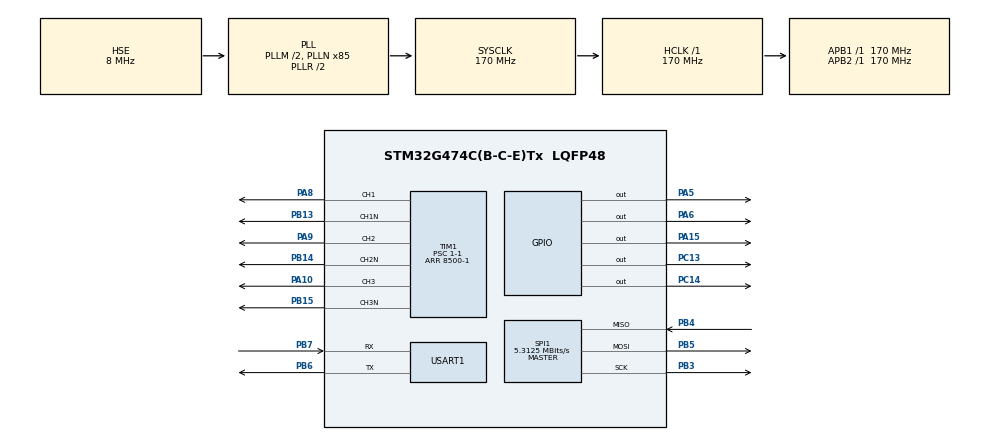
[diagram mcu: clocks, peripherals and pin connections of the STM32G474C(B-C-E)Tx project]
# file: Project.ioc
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Dma.Request0=USART1_RX
Dma.Request1=USART1_TX
Dma.USART1_RX.0.Direction=DMA_PERIPH_TO_MEMORY
Dma.USART1_RX.0.EventEnable=DISABLE
Dma.USART1_RX.0.Instance=DMA1_Channel1
Dma.USART1_RX.0.MemDataAlignment=DMA_MDATAALIGN_BYTE
Dma.USART1_RX.0.MemInc=DMA_MINC_ENABLE
Dma.USART1_RX.0.Mode=DMA_NORMAL
Dma.USART1_RX.0.PeriphDataAlignment=DMA_PDATAALIGN_BYTE
Dma.USART1_RX.0.PeriphInc=DMA_PINC_DISABLE
Dma.USART1_RX.0.Polarity=HAL_DMAMUX_REQ_GEN_RISING
Dma.USART1_RX.0.Priority=DMA_PRIORITY_HIGH
Dma.USART1_RX.0.RequestNumber=1
Dma.USART1_RX.0.SignalID=NONE
Dma.USART1_RX.0.SyncEnable=DISABLE
Dma.USART1_RX.0.SyncPolarity=HAL_DMAMUX_SYNC_NO_EVENT
Dma.USART1_RX.0.SyncRequestNumber=1
Dma.USART1_RX.0.SyncSignalID=NONE
Dma.USART1_TX.1.Direction=DMA_MEMORY_TO_PERIPH
Dma.USART1_TX.1.EventEnable=DISABLE
Dma.USART1_TX.1.Instance=DMA1_Channel2
Dma.USART1_TX.1.MemDataAlignment=DMA_MDATAALIGN_BYTE
Dma.USART1_TX.1.MemInc=DMA_MINC_ENABLE
Dma.USART1_TX.1.Mode=DMA_NORMAL
Dma.USART1_TX.1.PeriphDataAlignment=DMA_PDATAALIGN_BYTE
Dma.USART1_TX.1.PeriphInc=DMA_PINC_DISABLE
Dma.USART1_TX.1.Polarity=HAL_DMAMUX_REQ_GEN_RISING
Dma.USART1_TX.1.Priority=DMA_PRIORITY_LOW
Dma.USART1_TX.1.RequestNumber=1
Dma.USART1_TX.1.SignalID=NONE
Dma.USART1_TX.1.SyncEnable=DISABLE
Dma.USART1_TX.1.SyncPolarity=HAL_DMAMUX_SYNC_NO_EVENT
Dma.USART1_TX.1.SyncRequestNumber=1
Dma.USART1_TX.1.SyncSignalID=NONE
Mcu.Family=STM32G4
Mcu.Name=STM32G474C(B-C-E)Tx
Mcu.Package=LQFP48
NVIC.DMA1_Channel1_IRQn=true\:2\:1\:true\:false\:true\:false\:true\:true
NVIC.DMA1_Channel2_IRQn=true\:2\:1\:true\:false\:true\:false\:true\:true
NVIC.PriorityGroup=NVIC_PRIORITYGROUP_2
NVIC.TIM4_IRQn=true\:0\:0\:false\:false\:true\:true\:true\:true
NVIC.USART1_IRQn=true\:3\:3\:true\:false\:true\:true\:true\:true
PA10.Signal=S_TIM1_CH3
PA13.Mode=Serial_Wire
PA13.Signal=SYS_JTMS-SWDIO
PA14.Mode=Serial_Wire
PA14.Signal=SYS_JTCK-SWCLK
PA15.GPIO_Speed=GPIO_SPEED_FREQ_VERY_HIGH
PA15.PinState=GPIO_PIN_SET
PA15.Signal=GPIO_Output
PA5.GPIO_Speed=GPIO_SPEED_FREQ_HIGH
PA5.Signal=GPIO_Output
PA6.GPIO_PuPd=GPIO_PULLDOWN
PA6.Signal=GPIO_Output
PA8.Signal=S_TIM1_CH1
PA9.Signal=S_TIM1_CH2
PB13.Mode=PWM Generation1 CH1 CH1N
PB13.Signal=TIM1_CH1N
PB14.Mode=PWM Generation2 CH2 CH2N
PB14.Signal=TIM1_CH2N
PB15.Mode=PWM Generation3 CH3 CH3N
PB15.Signal=TIM1_CH3N
PB3.Mode=Full_Duplex_Master
PB3.Signal=SPI1_SCK
PB4.Mode=Full_Duplex_Master
PB4.Signal=SPI1_MISO
PB5.Mode=Full_Duplex_Master
PB5.Signal=SPI1_MOSI
PB6.Mode=Asynchronous
PB6.Signal=USART1_TX
PB7.Mode=Asynchronous
PB7.Signal=USART1_RX
PC13.GPIO_PuPd=GPIO_PULLUP
PC13.PinState=GPIO_PIN_SET
PC13.Signal=GPIO_Output
PC14-OSC32_IN.GPIO_PuPd=GPIO_PULLUP
PC14-OSC32_IN.PinState=GPIO_PIN_SET
PC14-OSC32_IN.Signal=GPIO_Output
PF0-OSC_IN.Mode=HSE-External-Oscillator
PF0-OSC_IN.Signal=RCC_OSC_IN
PF1-OSC_OUT.Mode=HSE-External-Oscillator
PF1-OSC_OUT.Signal=RCC_OSC_OUT
ProjectManager.HeapSize=0x200
ProjectManager.StackSize=0x400
ProjectManager.TargetToolchain=MDK-ARM V5.32
RCC.ADC12Freq_Value=170000000
RCC.ADC345Freq_Value=170000000
RCC.AHBFreq_Value=170000000
RCC.APB1Freq_Value=170000000
RCC.APB1TimFreq_Value=170000000
RCC.APB2Freq_Value=170000000
RCC.APB2TimFreq_Value=170000000
RCC.CortexFreq_Value=170000000
RCC.EXTERNAL_CLOCK_VALUE=12288000
RCC.HCLKFreq_Value=170000000
RCC.HSE_VALUE=8000000
RCC.HSI48_VALUE=48000000
RCC.HSI_VALUE=16000000
RCC.LSE_VALUE=32768
RCC.PLLM=RCC_PLLM_DIV2
RCC.PLLN=85
RCC.PLLSourceVirtual=RCC_PLLSOURCE_HSE
RCC.SYSCLKFreq_VALUE=170000000
RCC.SYSCLKSource=RCC_SYSCLKSOURCE_PLLCLK
RCC.USBFreq_Value=170000000
RCC.VCOOutputFreq_Value=340000000
SH.S_TIM1_CH1.0=TIM1_CH1,PWM Generation1 CH1 CH1N
SH.S_TIM1_CH2.0=TIM1_CH2,PWM Generation2 CH2 CH2N
SH.S_TIM1_CH3.0=TIM1_CH3,PWM Generation3 CH3 CH3N
SPI1.BaudRatePrescaler=SPI_BAUDRATEPRESCALER_32
SPI1.CalculateBaudRate=5.3125 MBits/s
SPI1.DataSize=SPI_DATASIZE_8BIT
SPI1.Direction=SPI_DIRECTION_2LINES
SPI1.Mode=SPI_MODE_MASTER
SPI1.NSSPMode=SPI_NSS_PULSE_DISABLE
SPI1.VirtualType=VM_MASTER
TIM1.AutoReloadPreload=TIM_AUTORELOAD_PRELOAD_ENABLE
TIM1.Channel-PWM\ Generation1\ CH1\ CH1N=TIM_CHANNEL_1
TIM1.Channel-PWM\ Generation2\ CH2\ CH2N=TIM_CHANNEL_2
TIM1.Channel-PWM\ Generation3\ CH3\ CH3N=TIM_CHANNEL_3
TIM1.PeriodNoDither=8500-1
TIM1.Prescaler=1-1
TIM4.AutoReloadPreload=TIM_AUTORELOAD_PRELOAD_ENABLE
TIM4.PeriodNoDither=10000-1
TIM4.Prescaler=17-1
USART1.VirtualMode-Asynchronous=VM_ASYNC
VP_SYS_VS_DBSignals.Mode=DisableDeadBatterySignals
VP_TIM1_VS_ClockSourceINT.Mode=Internal
VP_TIM4_VS_ClockSourceINT.Mode=Internal
board=custom

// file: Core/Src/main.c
/* USER CODE BEGIN Header */
/**
  ******************************************************************************
  * @file           : main.c
  * @brief          : Main program body
  ******************************************************************************
  * @attention
  *
  * Copyright (c) 2025 STMicroelectronics.
  * All rights reserved.
  *
  * This software is licensed under terms that can be found in the LICENSE file
  * in the root directory of this software component.
  * If no LICENSE file comes with this software, it is provided AS-IS.
  *
  ******************************************************************************
  */
/* USER CODE END Header */
#include "main.h"
#include "dma.h"
#include "spi.h"
#include "tim.h"
#include "usart.h"
#include "gpio.h"

/* USER CODE BEGIN Includes */
#include "bsp_led.h"
#include "in_serial.h"

#include "motor.h"

/* USER CODE END Includes */

void SystemClock_Config(void);

int main(void)
{

  /* MCU Configuration--------------------------------------------------------*/

  /* Reset of all peripherals, Initializes the Flash interface and the Systick. */
  HAL_Init();

  /* Configure the system clock */
  SystemClock_Config();

  /* Initialize all configured peripherals */
  MX_GPIO_Init();
  MX_DMA_Init();
  MX_USART1_UART_Init();
  MX_TIM1_Init();
  MX_TIM4_Init();
  MX_SPI1_Init();
  /* USER CODE BEGIN 2 */

  bsp_led_init();    /* LED初始化 */
//  in_serial_init();    /* 串口初始化 */

  PID_Init();

  Motor_init();    /* 电机初始化 */
  motor_MOS(1);    /* 电机MOS使能 */

  alignSensor();    //检测零点偏移量和极对数

  HAL_TIM_Base_Start_IT(&htim4);    /* 打开tim4定时器中断，定时中断时间1ms */

  DWT_Delay_Init();

  systick_CountMode();

  //当前展示，重上电时，位置在最远端，即不可再正转，只能反转
  power_on_pos = getAngle();  //重上电位置

  BSP_LED0(1);
  BSP_LED1(0);

  /* USER CODE END 2 */

  /* Infinite loop */
  /* USER CODE BEGIN WHILE */
  while (1)
  {
//      #pragma diag_suppress 870    /* 屏蔽870警告，多由文件编码问题导致，如代码包含中文字符 */
//      printf("→上位机：串口发送测试    1a.#。\r\n");
//      HAL_Delay(500);

//      setPhaseVoltage(1, 0, 0 * 3.14 / 180);   /* 移动到设置的电角度，验证setPhaseVoltage函数 */

//      FOC_openLoop_velocity(1, 0.1);

//      velocityOpenloop(0.1 * 6.28, 1, 0);

      /* 使用以下位置开环程序进行编码器校准，速度限制0.25 * 6.28 rad/s，正反转 15 * 6.28 */
//        angleOpenloop(-5 * 6.28, 0.1 * 6.28, 0.5, 0);    /* 角度开环，可移动行程38，导程2.5，可旋转 38/2.5 = 15.2圈，即 15.2 * 6.28 */
        /* 编码器校准通过 */

//      printf("→上位机：编码器反馈测试    单圈值%f,    多圈值%f\n\r", getAngle_Without_track(), getAngle());

      process_uart_receive(); //串口数据接收处理

//

      BSP_LED0(0);
      BSP_LED1(1);
    /* USER CODE END WHILE */

  }
}

void SystemClock_Config(void)
{
  RCC_OscInitTypeDef RCC_OscInitStruct = {0};
  RCC_ClkInitTypeDef RCC_ClkInitStruct = {0};

  /** Configure the main internal regulator output voltage
  */
  HAL_PWREx_ControlVoltageScaling(PWR_REGULATOR_VOLTAGE_SCALE1_BOOST);

  /** Initializes the RCC Oscillators according to the specified parameters
  * in the RCC_OscInitTypeDef structure.
  */
  RCC_OscInitStruct.OscillatorType = RCC_OSCILLATORTYPE_HSE;
  RCC_OscInitStruct.HSEState = RCC_HSE_ON;
  RCC_OscInitStruct.PLL.PLLState = RCC_PLL_ON;
  RCC_OscInitStruct.PLL.PLLSource = RCC_PLLSOURCE_HSE;
  RCC_OscInitStruct.PLL.PLLM = RCC_PLLM_DIV2;
  RCC_OscInitStruct.PLL.PLLN = 85;
  RCC_OscInitStruct.PLL.PLLP = RCC_PLLP_DIV2;
  RCC_OscInitStruct.PLL.PLLQ = RCC_PLLQ_DIV2;
  RCC_OscInitStruct.PLL.PLLR = RCC_PLLR_DIV2;
  if (HAL_RCC_OscConfig(&RCC_OscInitStruct) != HAL_OK)
  {
    Error_Handler();
  }

  /** Initializes the CPU, AHB and APB buses clocks
  */
  RCC_ClkInitStruct.ClockType = RCC_CLOCKTYPE_HCLK|RCC_CLOCKTYPE_SYSCLK
                              |RCC_CLOCKTYPE_PCLK1|RCC_CLOCKTYPE_PCLK2;
  RCC_ClkInitStruct.SYSCLKSource = RCC_SYSCLKSOURCE_PLLCLK;
  RCC_ClkInitStruct.AHBCLKDivider = RCC_SYSCLK_DIV1;
  RCC_ClkInitStruct.APB1CLKDivider = RCC_HCLK_DIV1;
  RCC_ClkInitStruct.APB2CLKDivider = RCC_HCLK_DIV1;

  if (HAL_RCC_ClockConfig(&RCC_ClkInitStruct, FLASH_LATENCY_4) != HAL_OK)
  {
    Error_Handler();
  }
}

void Error_Handler(void)
{
  __disable_irq();
  while (1)
  {
  }
}
